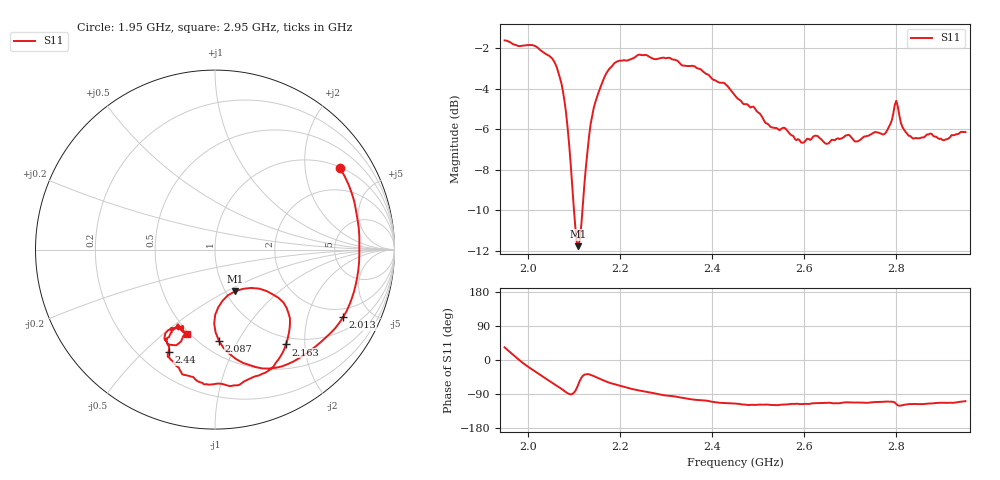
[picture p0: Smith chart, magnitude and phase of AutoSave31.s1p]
!Agilent N9923A: A.07.32
!Date: Thursday, 02 June 2016 22:56:42
!Model: N9923A
!Serial: MY52412257
!GPS Latitude:
!GPS Longitude:
!GPS TimeStamp: 0001-01-01 00:00:00Z
!GPS Seconds Since Last Read: 0
!CHECKSUM:0493161398
!Correction: S11(ON U)
!S1P File: Measurement: S11:
# Hz S DB R 50
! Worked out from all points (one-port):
!   301 points, 1.95 GHz to 2.95 GHz, reference 50 ohm
!   lowest |S11| = -11.8 dB at 2.11 GHz (marker M1), VSWR 1.70, Z = 55.6 - j27.6 ohm
!   |S11| at or under -10 dB: 2.101 GHz to 2.119 GHz (18.31 MHz wide, 0.868 % of centre)
!   S11 on the Smith chart (normalised r, x): 1.95 GHz: 1.03, +3.03; 2.013 GHz: 1.56, -3.37; 2.087 GHz: 0.61, -0.83; 2.163 GHz: 0.87, -1.64; 2.44 GHz: 0.32, -0.60; 2.95 GHz: 0.48, -0.60
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1.95e9  -1.61 33.3
1.976667e9  -1.86 5.1
1.996667e9  -1.85 -14.1
2.013333e9  -1.86 -27.8
2.033333e9  -2.19 -44.2
2.053333e9  -2.50 -60.3
2.063333e9  -2.95 -68.3
2.076667e9  -4.13 -79.1
2.086667e9  -5.90 -87.6
2.096667e9  -8.80 -89.8
2.11e9  -11.77 -63.9
2.12e9  -9.67 -41.4
2.136667e9  -5.74 -39.2
2.163333e9  -3.60 -53.2
2.203333e9  -2.61 -68.8
2.243333e9  -2.31 -80.8
2.326667e9  -2.64 -97.9
2.363333e9  -2.91 -105.0
2.44e9  -4.05 -114.3
2.453333e9  -4.42 -115.2
2.526667e9  -5.87 -118.5
2.576667e9  -6.33 -115.9
2.703333e9  -6.42 -112.4
2.773333e9  -6.25 -110.1
2.796667e9  -4.80 -112.1
2.803333e9  -4.88 -119.6
2.826667e9  -6.31 -116.6
2.95e9  -6.13 -108.7
